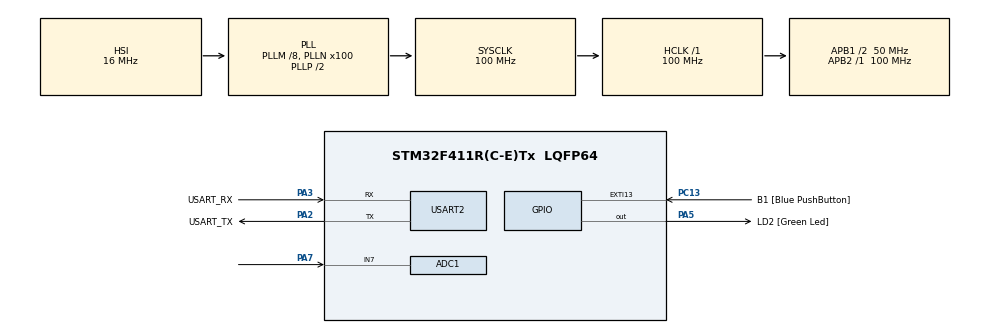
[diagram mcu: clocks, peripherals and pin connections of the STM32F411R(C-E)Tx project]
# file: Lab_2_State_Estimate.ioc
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ADC1.Channel-1\#ChannelRegularConversion=ADC_CHANNEL_7
ADC1.ExternalTrigConv=ADC_EXTERNALTRIGCONV_T3_TRGO
ADC1.NbrOfConversionFlag=1
ADC1.Rank-1\#ChannelRegularConversion=1
ADC1.SamplingTime-1\#ChannelRegularConversion=ADC_SAMPLETIME_3CYCLES
ADC1.master=1
Mcu.Family=STM32F4
Mcu.Name=STM32F411R(C-E)Tx
Mcu.Package=LQFP64
NVIC.ADC_IRQn=true\:0\:0\:false\:false\:true\:true\:true
NVIC.PriorityGroup=NVIC_PRIORITYGROUP_0
PA13.GPIO_Label=TMS
PA13.Mode=Serial_Wire
PA13.Signal=SYS_JTMS-SWDIO
PA14.GPIO_Label=TCK
PA14.Mode=Serial_Wire
PA14.Signal=SYS_JTCK-SWCLK
PA2.GPIO_Label=USART_TX
PA2.Mode=Asynchronous
PA2.Signal=USART2_TX
PA3.GPIO_Label=USART_RX
PA3.Mode=Asynchronous
PA3.Signal=USART2_RX
PA5.GPIO_Label=LD2 [Green Led]
PA5.Signal=GPIO_Output
PA7.Signal=ADCx_IN7
PB3.GPIO_Label=SWO
PB3.Signal=SYS_JTDO-SWO
PC13-ANTI_TAMP.GPIO_Label=B1 [Blue PushButton]
PC13-ANTI_TAMP.GPIO_ModeDefaultEXTI=GPIO_MODE_IT_FALLING
PC13-ANTI_TAMP.Signal=GPXTI13
PC14-OSC32_IN.Mode=LSE-External-Oscillator
PC14-OSC32_IN.Signal=RCC_OSC32_IN
PC15-OSC32_OUT.Mode=LSE-External-Oscillator
PC15-OSC32_OUT.Signal=RCC_OSC32_OUT
PH0\ -\ OSC_IN.Mode=HSE-External-Clock-Source
PH0\ -\ OSC_IN.Signal=RCC_OSC_IN
PH1\ -\ OSC_OUT.Mode=HSE-External-Clock-Source
PH1\ -\ OSC_OUT.Signal=RCC_OSC_OUT
ProjectManager.HeapSize=0x200
ProjectManager.StackSize=0x400
ProjectManager.TargetToolchain=STM32CubeIDE
RCC.48MHZClocksFreq_Value=50000000
RCC.AHBFreq_Value=100000000
RCC.APB1CLKDivider=RCC_HCLK_DIV2
RCC.APB1Freq_Value=50000000
RCC.APB1TimFreq_Value=100000000
RCC.APB2Freq_Value=100000000
RCC.APB2TimFreq_Value=100000000
RCC.CortexFreq_Value=100000000
RCC.FLatency-AdvancedSettings=FLASH_LATENCY_3
RCC.HCLKFreq_Value=100000000
RCC.HSE_VALUE=8000000
RCC.HSI_VALUE=16000000
RCC.PLLM=8
RCC.PLLN=100
RCC.SYSCLKFreq_VALUE=100000000
RCC.SYSCLKSource=RCC_SYSCLKSOURCE_PLLCLK
RCC.VCOOutputFreq_Value=200000000
SH.ADCx_IN7.0=ADC1_IN7,IN7
TIM3.Period=49999
TIM3.Prescaler=39
TIM3.TIM_MasterOutputTrigger=TIM_TRGO_UPDATE
USART2.VirtualMode=VM_ASYNC
VP_TIM3_VS_ClockSourceINT.Mode=Internal
board=NUCLEO-F411RE

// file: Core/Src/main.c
/* USER CODE BEGIN Header */
/**
  ******************************************************************************
  * @file           : main.c
  * @brief          : Main program body
  ******************************************************************************
  * @attention
  *
  * Copyright (c) 2022 STMicroelectronics.
  * All rights reserved.
  *
  * This software is licensed under terms that can be found in the LICENSE file
  * in the root directory of this software component.
  * If no LICENSE file comes with this software, it is provided AS-IS.
  *
  ******************************************************************************
  */
/* USER CODE END Header */
#include "main.h"

ADC_HandleTypeDef hadc1;

TIM_HandleTypeDef htim3;

UART_HandleTypeDef huart2;

/* USER CODE BEGIN PV */

uint16_t ADCFeedBack = 0; 	// Store ADC Value
float P = 0; 				// input value after mapping from 0-4095 to 0-360
float Plast = 0;			// For Unwrapping
float Polast = 0;			// For Unwrapping
float P_unwrap;
float Po = 0;

/* USER CODE END PV */

void SystemClock_Config(void);
static void MX_GPIO_Init(void);
static void MX_USART2_UART_Init(void);
static void MX_ADC1_Init(void);
static void MX_TIM3_Init(void);
/* USER CODE BEGIN PFP */
float Unwrapping(float InputP);
/* USER CODE END PFP */

int main(void)
{

  /* MCU Configuration--------------------------------------------------------*/

  /* Reset of all peripherals, Initializes the Flash interface and the Systick. */
  HAL_Init();

  /* Configure the system clock */
  SystemClock_Config();

  /* Initialize all configured peripherals */
  MX_GPIO_Init();
  MX_USART2_UART_Init();
  MX_ADC1_Init();
  MX_TIM3_Init();
  /* USER CODE BEGIN 2 */

  // ADC and Timer 3 That Call Back
  HAL_ADC_Start_IT(&hadc1); 		//Start ADC with interrupt Callback
  HAL_TIM_Base_Start(&htim3);		//Start Timer 3
  // When timer 3 count will call ADC interrupt due to setting

  /* USER CODE END 2 */

  /* Infinite loop */
  while (1)
  {

  }
}

void SystemClock_Config(void)
{
  RCC_OscInitTypeDef RCC_OscInitStruct = {0};
  RCC_ClkInitTypeDef RCC_ClkInitStruct = {0};

  /** Configure the main internal regulator output voltage
  */
  __HAL_RCC_PWR_CLK_ENABLE();
  __HAL_PWR_VOLTAGESCALING_CONFIG(PWR_REGULATOR_VOLTAGE_SCALE1);
  /** Initializes the RCC Oscillators according to the specified parameters
  * in the RCC_OscInitTypeDef structure.
  */
  RCC_OscInitStruct.OscillatorType = RCC_OSCILLATORTYPE_HSI;
  RCC_OscInitStruct.HSIState = RCC_HSI_ON;
  RCC_OscInitStruct.HSICalibrationValue = RCC_HSICALIBRATION_DEFAULT;
  RCC_OscInitStruct.PLL.PLLState = RCC_PLL_ON;
  RCC_OscInitStruct.PLL.PLLSource = RCC_PLLSOURCE_HSI;
  RCC_OscInitStruct.PLL.PLLM = 8;
  RCC_OscInitStruct.PLL.PLLN = 100;
  RCC_OscInitStruct.PLL.PLLP = RCC_PLLP_DIV2;
  RCC_OscInitStruct.PLL.PLLQ = 4;
  if (HAL_RCC_OscConfig(&RCC_OscInitStruct) != HAL_OK)
  {
    Error_Handler();
  }
  /** Initializes the CPU, AHB and APB buses clocks
  */
  RCC_ClkInitStruct.ClockType = RCC_CLOCKTYPE_HCLK|RCC_CLOCKTYPE_SYSCLK
                              |RCC_CLOCKTYPE_PCLK1|RCC_CLOCKTYPE_PCLK2;
  RCC_ClkInitStruct.SYSCLKSource = RCC_SYSCLKSOURCE_PLLCLK;
  RCC_ClkInitStruct.AHBCLKDivider = RCC_SYSCLK_DIV1;
  RCC_ClkInitStruct.APB1CLKDivider = RCC_HCLK_DIV2;
  RCC_ClkInitStruct.APB2CLKDivider = RCC_HCLK_DIV1;

  if (HAL_RCC_ClockConfig(&RCC_ClkInitStruct, FLASH_LATENCY_3) != HAL_OK)
  {
    Error_Handler();
  }
}

static void MX_ADC1_Init(void)
{

  ADC_ChannelConfTypeDef sConfig = {0};

  /** Configure the global features of the ADC (Clock, Resolution, Data Alignment and number of conversion)
  */
  hadc1.Instance = ADC1;
  hadc1.Init.ClockPrescaler = ADC_CLOCK_SYNC_PCLK_DIV4;
  hadc1.Init.Resolution = ADC_RESOLUTION_12B;
  hadc1.Init.ScanConvMode = DISABLE;
  hadc1.Init.ContinuousConvMode = DISABLE;
  hadc1.Init.DiscontinuousConvMode = DISABLE;
  hadc1.Init.ExternalTrigConvEdge = ADC_EXTERNALTRIGCONVEDGE_RISING;
  hadc1.Init.ExternalTrigConv = ADC_EXTERNALTRIGCONV_T3_TRGO;
  hadc1.Init.DataAlign = ADC_DATAALIGN_RIGHT;
  hadc1.Init.NbrOfConversion = 1;
  hadc1.Init.DMAContinuousRequests = DISABLE;
  hadc1.Init.EOCSelection = ADC_EOC_SINGLE_CONV;
  if (HAL_ADC_Init(&hadc1) != HAL_OK)
  {
    Error_Handler();
  }
  /** Configure for the selected ADC regular channel its corresponding rank in the sequencer and its sample time.
  */
  sConfig.Channel = ADC_CHANNEL_7;
  sConfig.Rank = 1;
  sConfig.SamplingTime = ADC_SAMPLETIME_3CYCLES;
  if (HAL_ADC_ConfigChannel(&hadc1, &sConfig) != HAL_OK)
  {
    Error_Handler();
  }

}

static void MX_TIM3_Init(void)
{

  TIM_ClockConfigTypeDef sClockSourceConfig = {0};
  TIM_MasterConfigTypeDef sMasterConfig = {0};

  htim3.Instance = TIM3;
  htim3.Init.Prescaler = 39;
  htim3.Init.CounterMode = TIM_COUNTERMODE_UP;
  htim3.Init.Period = 49999;
  htim3.Init.ClockDivision = TIM_CLOCKDIVISION_DIV1;
  htim3.Init.AutoReloadPreload = TIM_AUTORELOAD_PRELOAD_DISABLE;
  if (HAL_TIM_Base_Init(&htim3) != HAL_OK)
  {
    Error_Handler();
  }
  sClockSourceConfig.ClockSource = TIM_CLOCKSOURCE_INTERNAL;
  if (HAL_TIM_ConfigClockSource(&htim3, &sClockSourceConfig) != HAL_OK)
  {
    Error_Handler();
  }
  sMasterConfig.MasterOutputTrigger = TIM_TRGO_UPDATE;
  sMasterConfig.MasterSlaveMode = TIM_MASTERSLAVEMODE_DISABLE;
  if (HAL_TIMEx_MasterConfigSynchronization(&htim3, &sMasterConfig) != HAL_OK)
  {
    Error_Handler();
  }

}

static void MX_USART2_UART_Init(void)
{

  huart2.Instance = USART2;
  huart2.Init.BaudRate = 115200;
  huart2.Init.WordLength = UART_WORDLENGTH_8B;
  huart2.Init.StopBits = UART_STOPBITS_1;
  huart2.Init.Parity = UART_PARITY_NONE;
  huart2.Init.Mode = UART_MODE_TX_RX;
  huart2.Init.HwFlowCtl = UART_HWCONTROL_NONE;
  huart2.Init.OverSampling = UART_OVERSAMPLING_16;
  if (HAL_UART_Init(&huart2) != HAL_OK)
  {
    Error_Handler();
  }

}

static void MX_GPIO_Init(void)
{
  GPIO_InitTypeDef GPIO_InitStruct = {0};

  /* GPIO Ports Clock Enable */
  __HAL_RCC_GPIOC_CLK_ENABLE();
  __HAL_RCC_GPIOH_CLK_ENABLE();
  __HAL_RCC_GPIOA_CLK_ENABLE();
  __HAL_RCC_GPIOB_CLK_ENABLE();

  /*Configure GPIO pin Output Level */
  HAL_GPIO_WritePin(LD2_GPIO_Port, LD2_Pin, GPIO_PIN_RESET);

  /*Configure GPIO pin : B1_Pin */
  GPIO_InitStruct.Pin = B1_Pin;
  GPIO_InitStruct.Mode = GPIO_MODE_IT_FALLING;
  GPIO_InitStruct.Pull = GPIO_NOPULL;
  HAL_GPIO_Init(B1_GPIO_Port, &GPIO_InitStruct);

  /*Configure GPIO pin : LD2_Pin */
  GPIO_InitStruct.Pin = LD2_Pin;
  GPIO_InitStruct.Mode = GPIO_MODE_OUTPUT_PP;
  GPIO_InitStruct.Pull = GPIO_NOPULL;
  GPIO_InitStruct.Speed = GPIO_SPEED_FREQ_LOW;
  HAL_GPIO_Init(LD2_GPIO_Port, &GPIO_InitStruct);

}

/* USER CODE BEGIN 4 */

void HAL_ADC_ConvCpltCallback(ADC_HandleTypeDef *hadc) // 50 Hz sampling time
{
	ADCFeedBack = HAL_ADC_GetValue(&hadc1); // get ADC value every 0.02 s
	P = (ADCFeedBack * 360.0) / 4095.0; // mapping value 0-4095 to 0-360
	P_unwrap = Unwrapping(P);
}

float Unwrapping(float InputP)
{
	static float Pmax = 360;
	static float threshold = 180;

	if (InputP - Plast <= -threshold){
		Po = Polast + Pmax;
	}
	else if (InputP - Plast >= threshold){
		Po = Polast - Pmax;
	}
	else {
		Po = Polast;
	}
	Plast = InputP;		// P feedback
	Polast = Po;		// Po feedback
	return InputP + Po;
}

/* USER CODE END 4 */

void Error_Handler(void)
{
  __disable_irq();
  while (1)
  {
  }
}
